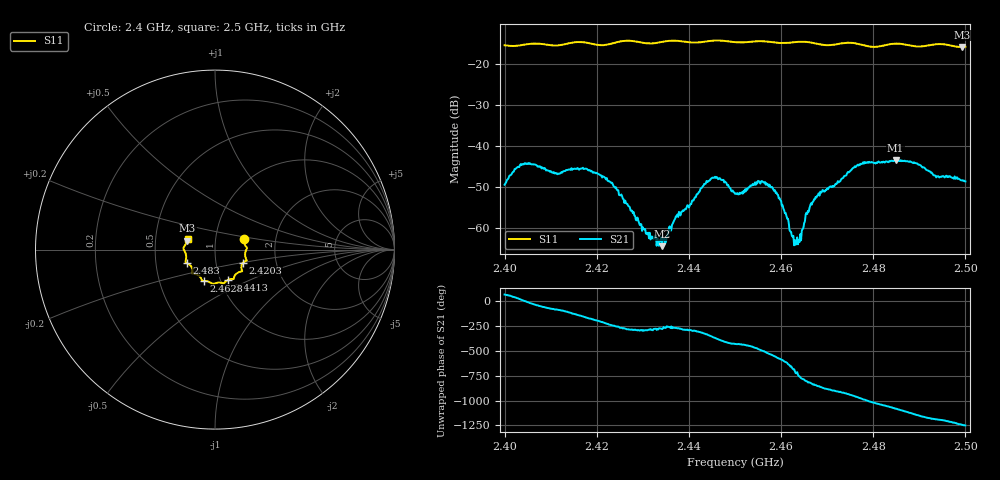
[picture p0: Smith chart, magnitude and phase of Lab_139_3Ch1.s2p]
# Hz S RI R 50
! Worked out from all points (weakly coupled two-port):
!   601 points, 2.4 GHz to 2.5 GHz, reference 50 ohm
!   highest |S21| = -43.37 dB at 2.4848 GHz (marker M1); lowest = -64.4 dB at 2.4342 GHz (marker M2)
!   lowest |S11| = -15.8 dB at 2.4993 GHz (marker M3), VSWR 1.39, Z = 36.5 + j3.73 ohm
!   |S11| at or under -10 dB: start of sweep to end of sweep
!   S12 and S22 are empty: the file has one direction only
!   S11 on the Smith chart (normalised r, x): 2.4 GHz: 1.37, +0.16; 2.4203 GHz: 1.35, -0.21; 2.4413 GHz: 1.09, -0.38; 2.4628 GHz: 0.83, -0.30; 2.483 GHz: 0.72, -0.11; 2.5 GHz: 0.73, +0.09
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2.4e9  0.1607 0.0569  0.00135 0.00311  0 0  0 0
2.404e9  0.1715 0.0181  0.00601 0.000774  0 0  0 0
2.411333e9  0.168 -0.0243  0.000419 -0.00467  0 0  0 0
2.416667e9  0.176 -0.0614  -0.00462 -0.00274  0 0  0 0
2.420333e9  0.1552 -0.0739  -0.00434 0.00143  0 0  0 0
2.433333e9  0.1081 -0.1483  0.000163 0.000627  0 0  0 0
2.434167e9  0.1061 -0.1546  0.000119 0.000593  0 0  0 0
2.441333e9  0.0743 -0.168  0.0012 0.00207  0 0  0 0
2.4455e9  0.0509 -0.1876  0.00409 -0.000545  0 0  0 0
2.45e9  0.0293 -0.1837  0.000844 -0.0025  0 0  0 0
2.4555e9  -0.01 -0.191  -0.00234 -0.00261  0 0  0 0
2.457667e9  -0.0205 -0.1861  -0.00317 -0.000269  0 0  0 0
2.459833e9  -0.0375 -0.1777  -0.00164 0.00149  0 0  0 0
2.462833e9  -0.0629 -0.1747  0.000509 0.000354  0 0  0 0
2.464167e9  -0.0692 -0.1751  0.000587 -0.00061  0 0  0 0
2.466667e9  -0.0743 -0.1676  -0.000668 -0.00183  0 0  0 0
2.476167e9  -0.1249 -0.1296  -0.00272 0.00485  0 0  0 0
2.483e9  -0.1549 -0.0767  0.00603 0.00249  0 0  0 0
2.483333e9  -0.1571 -0.0758  0.00602 0.00219  0 0  0 0
2.484833e9  -0.1633 -0.072  0.00678 -0.000119  0 0  0 0
2.499333e9  -0.1542 0.0497  -0.0037 -0.00104  0 0  0 0
2.5e9  -0.1526 0.0586  -0.00368 -0.000592  0 0  0 0
